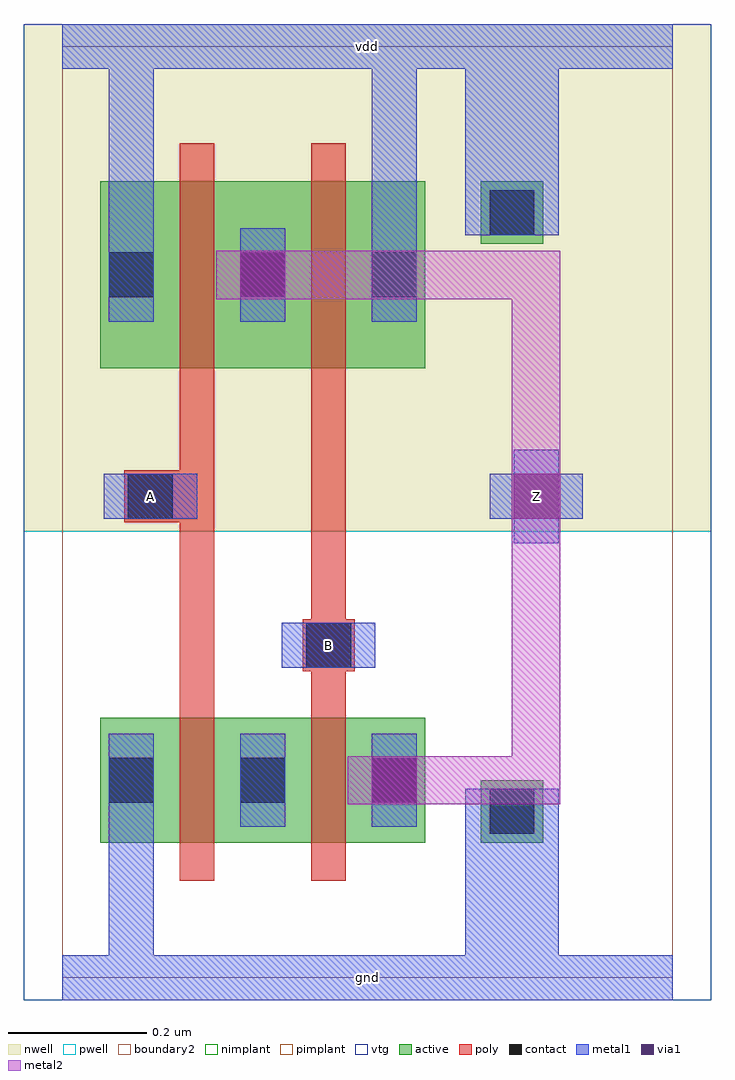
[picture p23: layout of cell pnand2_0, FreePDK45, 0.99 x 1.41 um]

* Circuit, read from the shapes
.subckt pnand2_0 A B Z gnd vdd
M1 nmos_m1_w0_180_a_p_2/D A gnd gnd nfet w=0.18u l=0.05u
M2 Z B nmos_m1_w0_180_a_p_2/D gnd nfet w=0.18u l=0.05u
M3 Z A vdd vdd pfet w=0.27u l=0.05u
M4 vdd B Z vdd pfet w=0.27u l=0.05u
.ends

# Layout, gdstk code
import gdstk
lib = gdstk.Library(unit=1e-6, precision=5e-10)
def R(c, l, rs):  # rectangles x0, y0, x1, y1
    for r in rs: c.add(gdstk.rectangle(r[:2], r[2:], *l))
active = (1, 0)
pwell = (2, 0)
nwell = (3, 0)
nimplant = (4, 0)
pimplant = (5, 0)
vtg = (6, 0)
poly = (9, 0)
contact = (10, 0)
metal1 = (11, 0)
via1 = (12, 0)
metal2 = (13, 0)
boundary2 = (239, 0)

contact_11 = lib.new_cell('contact_11')
R(contact_11, active, [(0,0.0225,0.09,0.1125)])
R(contact_11, nwell, [(-0.055,-0.0325,0.145,0.1675)])
R(contact_11, pimplant, [(0,0.0225,0.09,0.1125)])
R(contact_11, contact, [(0.0125,0.035,0.0775,0.1)])
R(contact_11, metal1, [(0.0125,0,0.0775,0.135)])

pmos_m1_w0_270_a_p = lib.new_cell('pmos_m1_w0_270_a_p')
R(pmos_m1_w0_270_a_p, active, [(0,0,0.28,0.27)])
R(pmos_m1_w0_270_a_p, nwell, [(-0.055,-0.055,0.335,0.325)])
R(pmos_m1_w0_270_a_p, pimplant, [(0,0,0.28,0.27)])
R(pmos_m1_w0_270_a_p, vtg, [(-0.055,-0.055,0.335,0.325)])
R(pmos_m1_w0_270_a_p, poly, [(0.115,-0.055,0.165,0.325), (0.115,-0.055,0.165,0.325)])
R(pmos_m1_w0_270_a_p, metal1, [(0.0125,0.0675,0.0775,0.2025), (0.2025,0.0675,0.2675,0.2025)])
R(pmos_m1_w0_270_a_p, boundary2, [(-0.055,-0.055,0.335,0.325)])
pmos_m1_w0_270_a_p.add(gdstk.Reference(contact_11, (0,0.0675)))
pmos_m1_w0_270_a_p.add(gdstk.Reference(contact_11, (0.19,0.0675)))
pmos_m1_w0_270_a_p.add(gdstk.Label('G', (0.14,0.135), layer=9, texttype=0))
pmos_m1_w0_270_a_p.add(gdstk.Label('S', (0.045,0.135), layer=11, texttype=0))
pmos_m1_w0_270_a_p.add(gdstk.Label('D', (0.235,0.135), layer=11, texttype=0))

contact_16 = lib.new_cell('contact_16')
R(contact_16, active, [(0,0.0225,0.09,0.1125)])
R(contact_16, pwell, [(-0.055,-0.0325,0.145,0.1675)])
R(contact_16, nimplant, [(0,0.0225,0.09,0.1125)])
R(contact_16, contact, [(0.0125,0.035,0.0775,0.1)])
R(contact_16, metal1, [(0.0125,0,0.0775,0.135)])

nmos_m1_w0_180_a_p = lib.new_cell('nmos_m1_w0_180_a_p')
R(nmos_m1_w0_180_a_p, active, [(0,0,0.28,0.18)])
R(nmos_m1_w0_180_a_p, pwell, [(-0.055,-0.055,0.335,0.235)])
R(nmos_m1_w0_180_a_p, nimplant, [(0,0,0.28,0.18)])
R(nmos_m1_w0_180_a_p, vtg, [(-0.055,-0.055,0.335,0.235)])
R(nmos_m1_w0_180_a_p, poly, [(0.115,-0.055,0.165,0.235), (0.115,-0.055,0.165,0.235)])
R(nmos_m1_w0_180_a_p, metal1, [(0.0125,0.0225,0.0775,0.1575), (0.2025,0.0225,0.2675,0.1575)])
R(nmos_m1_w0_180_a_p, boundary2, [(-0.055,-0.055,0.335,0.235)])
nmos_m1_w0_180_a_p.add(gdstk.Reference(contact_16, (0,0.0225)))
nmos_m1_w0_180_a_p.add(gdstk.Reference(contact_16, (0.19,0.0225)))
nmos_m1_w0_180_a_p.add(gdstk.Label('G', (0.14,0.09), layer=9, texttype=0))
nmos_m1_w0_180_a_p.add(gdstk.Label('S', (0.045,0.09), layer=11, texttype=0))
nmos_m1_w0_180_a_p.add(gdstk.Label('D', (0.235,0.09), layer=11, texttype=0))

contact_13 = lib.new_cell('contact_13')
R(contact_13, active, [(0.0225,0,0.1125,0.09)])
R(contact_13, nwell, [(-0.0325,-0.055,0.1675,0.145)])
R(contact_13, nimplant, [(0.0225,0,0.1125,0.09)])
R(contact_13, contact, [(0.035,0.0125,0.1,0.0775)])
R(contact_13, metal1, [(0,0.0125,0.135,0.0775)])

contact_17 = lib.new_cell('contact_17')
R(contact_17, active, [(0.0225,0,0.1125,0.09)])
R(contact_17, pwell, [(-0.0325,-0.055,0.1675,0.145)])
R(contact_17, pimplant, [(0.0225,0,0.1125,0.09)])
R(contact_17, contact, [(0.035,0.0125,0.1,0.0775)])
R(contact_17, metal1, [(0,0.0125,0.135,0.0775)])

contact_12 = lib.new_cell('contact_12')
R(contact_12, poly, [(0.03,0,0.105,0.075)])
R(contact_12, contact, [(0.035,0.005,0.1,0.07)])
R(contact_12, metal1, [(0,0.005,0.135,0.07)])

contact_20 = lib.new_cell('contact_20')
R(contact_20, metal1, [(0.035,0,0.1,0.135)])
R(contact_20, via1, [(0.035,0.035,0.1,0.1)])
R(contact_20, metal2, [(0,0.0325,0.135,0.1025)])

contact_19 = lib.new_cell('contact_19')
R(contact_19, metal1, [(0,0.035,0.135,0.1)])
R(contact_19, via1, [(0.035,0.035,0.1,0.1)])
R(contact_19, metal2, [(0.0325,0,0.1025,0.135)])

pnand2_0 = lib.new_cell('pnand2_0')
R(pnand2_0, pwell, [(-0.055,-0.0325,0.9375,0.645)])
R(pnand2_0, nwell, [(-0.055,0.645,0.9375,1.3775)])
R(pnand2_0, vtg, [(-0.055,-0.0325,0.9375,0.645), (-0.055,0.645,0.9375,1.3775)])
R(pnand2_0, poly, [(0.17,0.43,0.22,0.825), (0.36,0.43,0.41,0.825), (0.36,0.4425,0.385,0.5175), (0.1275,0.6575,0.17,0.7325)])
R(pnand2_0, metal1, [(0,-0.0325,0.8825,0.0325), (0.0675,-0.0325,0.1325,0.2175), (0.5825,0,0.7175,0.24), (0.3175,0.4475,0.4525,0.5125), (0.6525,0.6275,0.7175,0.7625), (0.06,0.6625,0.195,0.7275), (0.0675,0.9475,0.1325,1.3775), (0.4475,0.9475,0.5125,1.3775), (0.5825,1.105,0.7175,1.345), (0,1.3125,0.8825,1.3775)])
R(pnand2_0, metal2, [(0.48,0.25,0.685,0.32), (0.65,0.25,0.72,0.32), (0.65,0.285,0.72,0.695), (0.65,0.695,0.72,1.015), (0.29,0.98,0.685,1.05), (0.65,0.98,0.72,1.05)])
R(pnand2_0, boundary2, [(0,0,0.8825,1.345)])
pnand2_0.add(gdstk.Reference(pmos_m1_w0_270_a_p, (0.055,0.88)))
pnand2_0.add(gdstk.Reference(pmos_m1_w0_270_a_p, (0.245,0.88)))
pnand2_0.add(gdstk.Reference(nmos_m1_w0_180_a_p, (0.055,0.195)))
pnand2_0.add(gdstk.Reference(nmos_m1_w0_180_a_p, (0.245,0.195)))
pnand2_0.add(gdstk.Reference(contact_13, (0.5825,1.06)))
pnand2_0.add(gdstk.Reference(contact_17, (0.5825,0.195)))
pnand2_0.add(gdstk.Reference(contact_12, (0.3175,0.4425)))
pnand2_0.add(gdstk.Reference(contact_12, (0.06,0.6575)))
pnand2_0.add(gdstk.Reference(contact_20, (0.2225,0.9475)))
pnand2_0.add(gdstk.Reference(contact_20, (0.4125,0.2175)))
pnand2_0.add(gdstk.Reference(contact_19, (0.6175,0.6275)))
pnand2_0.add(gdstk.Label('gnd', (0.4415,0), layer=11, texttype=0))
pnand2_0.add(gdstk.Label('vdd', (0.4415,1.345), layer=11, texttype=0))
pnand2_0.add(gdstk.Label('B', (0.385,0.48), layer=11, texttype=0))
pnand2_0.add(gdstk.Label('A', (0.1275,0.695), layer=11, texttype=0))
pnand2_0.add(gdstk.Label('Z', (0.685,0.695), layer=11, texttype=0))

lib.write_gds('pnand2_0.gds')
